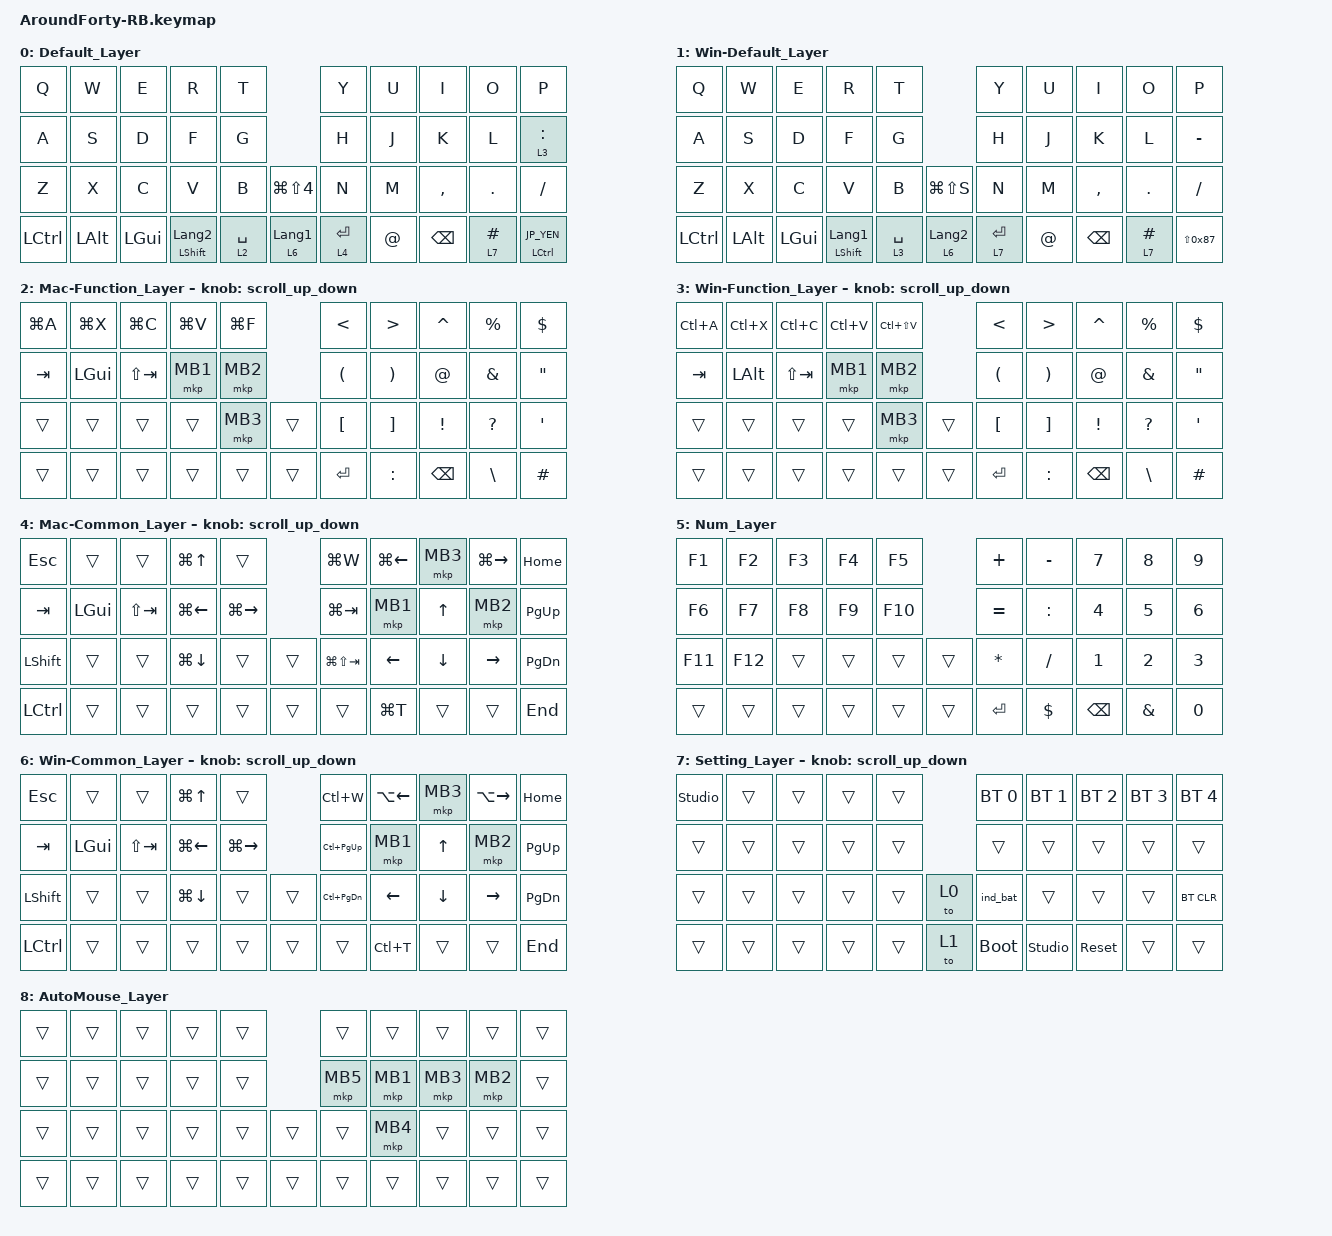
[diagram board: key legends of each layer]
// OS設定を日本語キーボードのまま使用するための変換定義

#define JP_DQUOTE       AT                // "
#define JP_AMPERSAND    CARET             // &
#define JP_QUOTE        AMPERSAND         // '
#define JP_EQUAL        UNDER             // =
#define JP_CARET        EQUAL             // ^
#define JP_YEN          0x89              // ¥
#define JP_PLUS         COLON             // +
#define JP_TILDE        PLUS              // ~
#define JP_PIPE         LS(0x89)          // |
#define JP_AT           LEFT_BRACKET      // @
#define JP_COLON        SINGLE_QUOTE      // :
#define JP_ASTERISK     DOUBLE_QUOTES     // *
#define JP_BACKQUOTE    LEFT_BRACE        // `
#define JP_UNDERSCORE   LS(0x87)          // _
#define JP_LBRACKET     RIGHT_BRACKET     // [
#define JP_RBRACKET     BACKSLASH         // ]
#define JP_LPAREN       ASTERISK          // (
#define JP_RPAREN       LEFT_PARENTHESIS  // )
#define JP_LBRACE       RIGHT_BRACE       // {
#define JP_RBRACE       PIPE              // }
#define JP_KANA         LANGUAGE_1        // かな
#define JP_EISU         LANGUAGE_2        // 英数
#define JP_HANZEN       GRAVE             // 半角/全角

#define ZMK_POINTING_DEFAULT_SCRL_VAL 100
#define MOUSE 6

#include <behaviors/rgbled_widget.dtsi>  // needed to use the behaviors
#include <behaviors.dtsi>
#include <dt-bindings/zmk/bt.h>
#include <dt-bindings/zmk/keys.h>
#include <dt-bindings/zmk/pointing.h>

&mt {
    flavor = "balanced";
    quick-tap-ms = <0>;
};

/ {
    combos { compatible = "zmk,combos"; };

    macros {
        to_layer_0: to_layer_0 {
            compatible = "zmk,behavior-macro-one-param";
            #binding-cells = <1>;
            bindings = <&to 0 &macro_param_1to1 &kp MACRO_PLACEHOLDER>;
            label = "TO_LAYER_0";
        };
    };

    behaviors {
        lt_to_layer_0: lt_to_layer_0 {
            compatible = "zmk,behavior-hold-tap";
            label = "LAYER_TAP_TO_0";
            bindings = <&mo>, <&to_layer_0>;

            #binding-cells = <2>;
            tapping-term-ms = <200>;
        };

        scroll_up_down: behavior_sensor_rotate_mouse_wheel_up_down {
            compatible = "zmk,behavior-sensor-rotate";
            #sensor-binding-cells = <0>;
            bindings = <&msc SCRL_DOWN>, <&msc SCRL_UP>;

            tap-ms = <20>;
        };
    };

    keymap {
        compatible = "zmk,keymap";

        Default_Layer {
            bindings = <
&kp Q      &kp W         &kp E         &kp R                      &kp T                              &kp Y        &kp U        &kp I          &kp O       &kp P
&kp A      &kp S         &kp D         &kp F                      &kp G                              &kp H        &kp J        &kp K          &kp L       &lt 3 COLON
&kp Z      &kp X         &kp C         &kp V                      &kp B        &kp LG(LS(NUMBER_4))  &kp N        &kp M        &kp COMMA      &kp PERIOD  &kp SLASH
&kp LCTRL  &kp LEFT_ALT  &kp LEFT_GUI  &mt LEFT_SHIFT LANGUAGE_2  &lt 2 SPACE  &lt 6 LANGUAGE_1      &lt 4 ENTER  &kp AT_SIGN  &kp BACKSPACE  &lt 7 HASH  &mt LCTRL JP_YEN
            >;
        };

        Win-Default_Layer {
            bindings = <
&kp Q      &kp W         &kp E         &kp R                      &kp T                          &kp Y        &kp U        &kp I          &kp O       &kp P
&kp A      &kp S         &kp D         &kp F                      &kp G                          &kp H        &kp J        &kp K          &kp L       &kp MINUS
&kp Z      &kp X         &kp C         &kp V                      &kp B        &kp LG(LS(S))     &kp N        &kp M        &kp COMMA      &kp PERIOD  &kp SLASH
&kp LCTRL  &kp LEFT_ALT  &kp LEFT_GUI  &mt LEFT_SHIFT LANGUAGE_1  &lt 3 SPACE  &lt 6 LANGUAGE_2  &lt 7 ENTER  &kp AT_SIGN  &kp BACKSPACE  &lt 7 HASH  &kp JP_UNDERSCORE
            >;
        };

        Mac-Function_Layer {
            bindings = <
&kp LG(A)  &kp LG(X)     &kp LG(C)    &kp LG(V)  &kp LG(F)          &kp LESS_THAN         &kp GREATER_THAN       &kp CARET        &kp PERCENT    &kp DOLLAR
&kp TAB    &kp LEFT_GUI  &kp LS(TAB)  &mkp MB1   &mkp MB2           &kp LEFT_PARENTHESIS  &kp RIGHT_PARENTHESIS  &kp AT_SIGN      &kp AMPERSAND  &kp DOUBLE_QUOTES
&trans     &trans        &trans       &trans     &mkp MB3   &trans  &kp LEFT_BRACKET      &kp RIGHT_BRACKET      &kp EXCLAMATION  &kp QUESTION   &kp SQT
&trans     &trans        &trans       &trans     &trans     &trans  &kp ENTER             &kp COLON              &kp BACKSPACE    &kp BACKSLASH  &kp HASH
            >;

            sensor-bindings = <&scroll_up_down>;
        };

        Win-Function_Layer {
            bindings = <
&kp LC(A)  &kp LC(X)     &kp LC(C)    &kp LC(V)  &kp LC(LS(V))          &kp LESS_THAN         &kp GREATER_THAN       &kp CARET        &kp PERCENT    &kp DOLLAR
&kp TAB    &kp LEFT_ALT  &kp LS(TAB)  &mkp MB1   &mkp MB2               &kp LEFT_PARENTHESIS  &kp RIGHT_PARENTHESIS  &kp AT_SIGN      &kp AMPERSAND  &kp DOUBLE_QUOTES
&trans     &trans        &trans       &trans     &mkp MB3       &trans  &kp LEFT_BRACKET      &kp RIGHT_BRACKET      &kp EXCLAMATION  &kp QUESTION   &kp SQT
&trans     &trans        &trans       &trans     &trans         &trans  &kp ENTER             &kp COLON              &kp BACKSPACE    &kp BACKSLASH  &kp HASH
            >;

            sensor-bindings = <&scroll_up_down>;
        };

        Mac-Common_Layer {
            bindings = <
&kp ESCAPE      &trans        &trans       &kp LG(UP_ARROW)    &trans                       &kp LG(W)        &kp LG(LEFT_ARROW)  &mkp MB3        &kp LG(RIGHT_ARROW)  &kp HOME
&kp TAB         &kp LEFT_GUI  &kp LS(TAB)  &kp LG(LEFT_ARROW)  &kp LG(RIGHT_ARROW)          &kp LG(TAB)      &mkp MB1            &kp UP_ARROW    &mkp MB2             &kp PAGE_UP
&kp LEFT_SHIFT  &trans        &trans       &kp LG(DOWN_ARROW)  &trans               &trans  &kp LG(LS(TAB))  &kp LEFT_ARROW      &kp DOWN_ARROW  &kp RIGHT_ARROW      &kp PAGE_DOWN
&kp LCTRL       &trans        &trans       &trans              &trans               &trans  &trans           &kp LG(T)           &trans          &trans               &kp END
            >;

            sensor-bindings = <&scroll_up_down>;
        };

        Num_Layer {
            bindings = <
&kp F1   &kp F2   &kp F3  &kp F4  &kp F5           &kp PLUS      &kp MINUS   &kp NUMBER_7   &kp NUMBER_8   &kp NUMBER_9
&kp F6   &kp F7   &kp F8  &kp F9  &kp F10          &kp EQUAL     &kp COLON   &kp N4         &kp N5         &kp N6
&kp F11  &kp F12  &trans  &trans  &trans   &trans  &kp ASTERISK  &kp SLASH   &kp NUMBER_1   &kp NUMBER_2   &kp NUMBER_3
&trans   &trans   &trans  &trans  &trans   &trans  &kp ENTER     &kp DOLLAR  &kp BACKSPACE  &kp AMPERSAND  &kp N0
            >;
        };

        Win-Common_Layer {
            bindings = <
&kp ESCAPE      &trans        &trans       &kp LG(UP_ARROW)    &trans                       &kp LC(W)          &kp LA(LEFT_ARROW)  &mkp MB3        &kp LA(RIGHT_ARROW)  &kp HOME
&kp TAB         &kp LEFT_GUI  &kp LS(TAB)  &kp LG(LEFT_ARROW)  &kp LG(RIGHT_ARROW)          &kp LC(PAGE_UP)    &mkp MB1            &kp UP_ARROW    &mkp MB2             &kp PAGE_UP
&kp LEFT_SHIFT  &trans        &trans       &kp LG(DOWN_ARROW)  &trans               &trans  &kp LC(PAGE_DOWN)  &kp LEFT_ARROW      &kp DOWN_ARROW  &kp RIGHT_ARROW      &kp PAGE_DOWN
&kp LCTRL       &trans        &trans       &trans              &trans               &trans  &trans             &kp LC(T)           &trans          &trans               &kp END
            >;

            sensor-bindings = <&scroll_up_down>;
        };

        Setting_Layer {
            bindings = <
&studio_unlock  &trans  &trans  &trans  &trans         &bt BT_SEL 0  &bt BT_SEL 1    &bt BT_SEL 2  &bt BT_SEL 3  &bt BT_SEL 4
&trans          &trans  &trans  &trans  &trans         &trans        &trans          &trans        &trans        &trans
&trans          &trans  &trans  &trans  &trans  &to 0  &ind_bat      &trans          &trans        &trans        &bt BT_CLR
&trans          &trans  &trans  &trans  &trans  &to 1  &bootloader   &studio_unlock  &sys_reset    &trans        &trans
            >;

            sensor-bindings = <&scroll_up_down>;
        };

        AutoMouse_Layer {
            bindings = <
&trans  &trans  &trans  &trans  &trans          &trans    &trans    &trans    &trans    &trans
&trans  &trans  &trans  &trans  &trans          &mkp MB5  &mkp MB1  &mkp MB3  &mkp MB2  &trans
&trans  &trans  &trans  &trans  &trans  &trans  &trans    &mkp MB4  &trans    &trans    &trans
&trans  &trans  &trans  &trans  &trans  &trans  &trans    &trans    &trans    &trans    &trans
            >;
        };
    };
};
